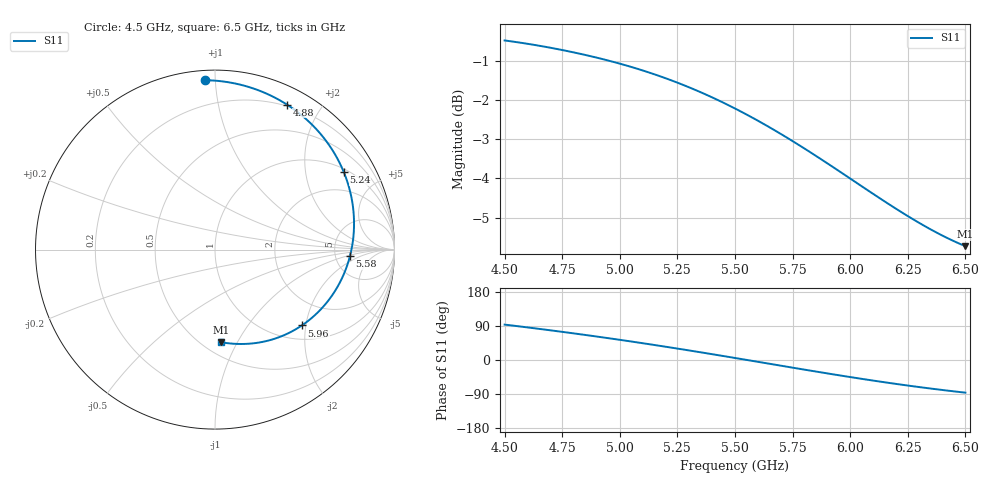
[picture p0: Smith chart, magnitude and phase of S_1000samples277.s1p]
! TOUCHSTONE file generated by CST MICROWAVE STUDIO
! Date and time: Thu Oct 27 14:46:29 2022
! Project name: L.cst
! Parameters = {Di=1.27; Epsilon_r=1.56; InnerDiameter=1.27; Length=2; Lf=10; Lg=60; OuterConductorThickness=0.2921; OuterDiameter=3.6; Wf=3; Wp=41.2; de=1.5; df=6.8; g=0.8; gx=0.656855; gy=4.32733; h=2.34; hf=1.524; px=8.16913; py=10.2973; w=9.7; wx=7.51227; wy=5.96998}
! Header version: 2018
! Port assignment regex: !\s*Touchstone port\s*([0-9]+)\s*=\s*(CST MWS port|CST DS port)\s*([0-9]+|Zmin|Zmax)\s*\(\"(.*)\"\)(\s*mode\s*([0-9]+))?.*
! Touchstone port assignment:
! Touchstone port 1 = CST MWS port 1 ("")
# GHz S DB R 50
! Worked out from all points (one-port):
!   101 points, 4.5 GHz to 6.5 GHz, reference 50 ohm
!   lowest |S11| = -5.7 dB at 6.5 GHz (marker M1), VSWR 3.14, Z = 30.5 - j43.1 ohm
!   |S11| at or under -10 dB: nowhere
!   S11 on the Smith chart (normalised r, x): 4.5 GHz: 0.05, +0.94; 4.88 GHz: 0.18, +1.60; 5.24 GHz: 1.12, +3.24; 5.58 GHz: 6.89, -1.17; 5.96 GHz: 1.32, -1.90; 6.5 GHz: 0.61, -0.86
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4.5  -0.49 93.4
4.58  -0.56 87.5
4.64  -0.61 82.9
4.76  -0.74 73.5
4.82  -0.82 68.6
4.88  -0.90 63.6
4.94  -0.98 58.5
5  -1.08 53.2
5.12  -1.29 42.4
5.18  -1.41 36.8
5.24  -1.54 31.1
5.26  -1.58 29.2
5.32  -1.73 23.3
5.38  -1.88 17.4
5.44  -2.04 11.4
5.5  -2.22 5.4
5.58  -2.47 -2.8
5.66  -2.73 -11.0
5.76  -3.09 -21.2
5.86  -3.46 -31.3
5.96  -3.84 -41.2
6  -4.00 -45.0
6.06  -4.24 -50.7
6.12  -4.47 -56.1
6.18  -4.70 -61.5
6.26  -4.99 -68.2
6.38  -5.39 -77.6
6.5  -5.72 -86.2
